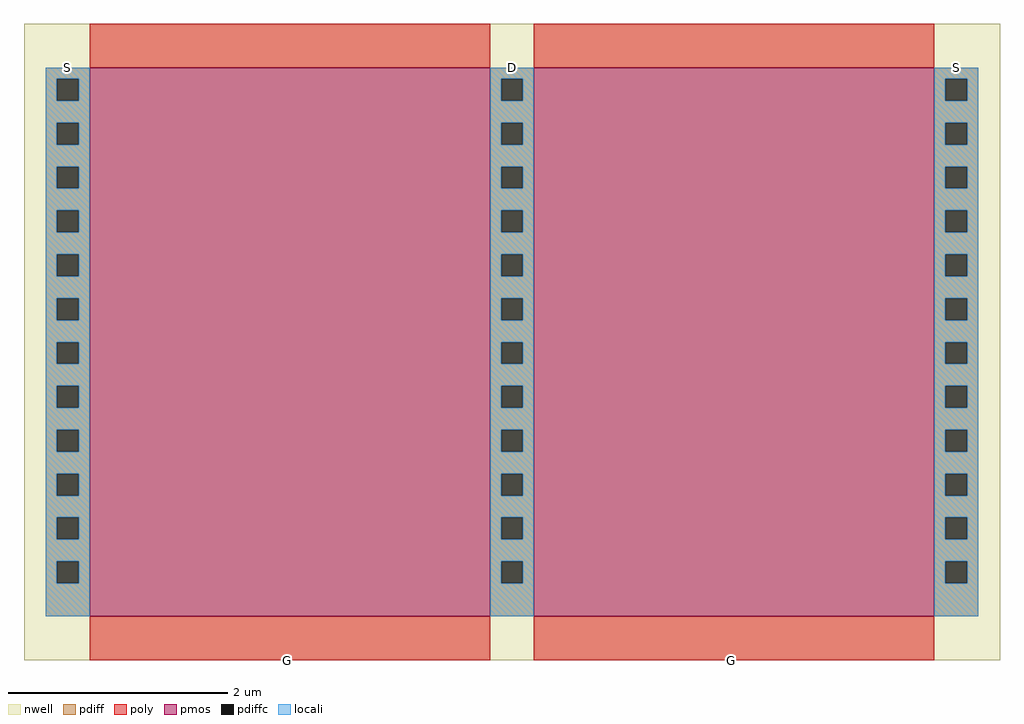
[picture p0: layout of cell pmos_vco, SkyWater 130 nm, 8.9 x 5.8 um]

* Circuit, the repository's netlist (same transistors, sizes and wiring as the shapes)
* NGSPICE file created from pmos_vco.ext - technology: sky130A

.subckt pmos_vco D G S VPWR
X0 S G D VPWR sky130_fd_pr__pfet_01v8 ad=2 pd=10.8 as=1 ps=5.4 w=5 l=3.65 M=2
.ends

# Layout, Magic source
magic
tech sky130A
<< nwell >>
rect -60 -40 830 540
<< pmos >>
rect 0 0 365 500
rect 405 0 770 500
<< pdiff >>
rect -40 490 0 500
rect -40 470 -30 490
rect -10 470 0 490
rect -40 450 0 470
rect -40 430 -30 450
rect -10 430 0 450
rect -40 410 0 430
rect -40 390 -30 410
rect -10 390 0 410
rect -40 370 0 390
rect -40 350 -30 370
rect -10 350 0 370
rect -40 330 0 350
rect -40 310 -30 330
rect -10 310 0 330
rect -40 290 0 310
rect -40 270 -30 290
rect -10 270 0 290
rect -40 250 0 270
rect -40 230 -30 250
rect -10 230 0 250
rect -40 210 0 230
rect -40 190 -30 210
rect -10 190 0 210
rect -40 170 0 190
rect -40 150 -30 170
rect -10 150 0 170
rect -40 130 0 150
rect -40 110 -30 130
rect -10 110 0 130
rect -40 90 0 110
rect -40 70 -30 90
rect -10 70 0 90
rect -40 50 0 70
rect -40 30 -30 50
rect -10 30 0 50
rect -40 0 0 30
rect 365 490 405 500
rect 365 470 375 490
rect 395 470 405 490
rect 365 450 405 470
rect 365 430 375 450
rect 395 430 405 450
rect 365 410 405 430
rect 365 390 375 410
rect 395 390 405 410
rect 365 370 405 390
rect 365 350 375 370
rect 395 350 405 370
rect 365 330 405 350
rect 365 310 375 330
rect 395 310 405 330
rect 365 290 405 310
rect 365 270 375 290
rect 395 270 405 290
rect 365 250 405 270
rect 365 230 375 250
rect 395 230 405 250
rect 365 210 405 230
rect 365 190 375 210
rect 395 190 405 210
rect 365 170 405 190
rect 365 150 375 170
rect 395 150 405 170
rect 365 130 405 150
rect 365 110 375 130
rect 395 110 405 130
rect 365 90 405 110
rect 365 70 375 90
rect 395 70 405 90
rect 365 50 405 70
rect 365 30 375 50
rect 395 30 405 50
rect 365 0 405 30
rect 770 490 810 500
rect 770 470 780 490
rect 800 470 810 490
rect 770 450 810 470
rect 770 430 780 450
rect 800 430 810 450
rect 770 410 810 430
rect 770 390 780 410
rect 800 390 810 410
rect 770 370 810 390
rect 770 350 780 370
rect 800 350 810 370
rect 770 330 810 350
rect 770 310 780 330
rect 800 310 810 330
rect 770 290 810 310
rect 770 270 780 290
rect 800 270 810 290
rect 770 250 810 270
rect 770 230 780 250
rect 800 230 810 250
rect 770 210 810 230
rect 770 190 780 210
rect 800 190 810 210
rect 770 170 810 190
rect 770 150 780 170
rect 800 150 810 170
rect 770 130 810 150
rect 770 110 780 130
rect 800 110 810 130
rect 770 90 810 110
rect 770 70 780 90
rect 800 70 810 90
rect 770 50 810 70
rect 770 30 780 50
rect 800 30 810 50
rect 770 0 810 30
<< pdiffc >>
rect -30 470 -10 490
rect -30 430 -10 450
rect -30 390 -10 410
rect -30 350 -10 370
rect -30 310 -10 330
rect -30 270 -10 290
rect -30 230 -10 250
rect -30 190 -10 210
rect -30 150 -10 170
rect -30 110 -10 130
rect -30 70 -10 90
rect -30 30 -10 50
rect 375 470 395 490
rect 375 430 395 450
rect 375 390 395 410
rect 375 350 395 370
rect 375 310 395 330
rect 375 270 395 290
rect 375 230 395 250
rect 375 190 395 210
rect 375 150 395 170
rect 375 110 395 130
rect 375 70 395 90
rect 375 30 395 50
rect 780 470 800 490
rect 780 430 800 450
rect 780 390 800 410
rect 780 350 800 370
rect 780 310 800 330
rect 780 270 800 290
rect 780 230 800 250
rect 780 190 800 210
rect 780 150 800 170
rect 780 110 800 130
rect 780 70 800 90
rect 780 30 800 50
<< poly >>
rect 0 500 365 540
rect 405 500 770 540
rect 0 -40 365 0
rect 405 -40 770 0
<< locali >>
rect -40 490 0 500
rect -40 470 -30 490
rect -10 470 0 490
rect -40 450 0 470
rect -40 430 -30 450
rect -10 430 0 450
rect -40 410 0 430
rect -40 390 -30 410
rect -10 390 0 410
rect -40 370 0 390
rect -40 350 -30 370
rect -10 350 0 370
rect -40 330 0 350
rect -40 310 -30 330
rect -10 310 0 330
rect -40 290 0 310
rect -40 270 -30 290
rect -10 270 0 290
rect -40 250 0 270
rect -40 230 -30 250
rect -10 230 0 250
rect -40 210 0 230
rect -40 190 -30 210
rect -10 190 0 210
rect -40 170 0 190
rect -40 150 -30 170
rect -10 150 0 170
rect -40 130 0 150
rect -40 110 -30 130
rect -10 110 0 130
rect -40 90 0 110
rect -40 70 -30 90
rect -10 70 0 90
rect -40 50 0 70
rect -40 30 -30 50
rect -10 30 0 50
rect -40 0 0 30
rect 365 490 405 500
rect 365 470 375 490
rect 395 470 405 490
rect 365 450 405 470
rect 365 430 375 450
rect 395 430 405 450
rect 365 410 405 430
rect 365 390 375 410
rect 395 390 405 410
rect 365 370 405 390
rect 365 350 375 370
rect 395 350 405 370
rect 365 330 405 350
rect 365 310 375 330
rect 395 310 405 330
rect 365 290 405 310
rect 365 270 375 290
rect 395 270 405 290
rect 365 250 405 270
rect 365 230 375 250
rect 395 230 405 250
rect 365 210 405 230
rect 365 190 375 210
rect 395 190 405 210
rect 365 170 405 190
rect 365 150 375 170
rect 395 150 405 170
rect 365 130 405 150
rect 365 110 375 130
rect 395 110 405 130
rect 365 90 405 110
rect 365 70 375 90
rect 395 70 405 90
rect 365 50 405 70
rect 365 30 375 50
rect 395 30 405 50
rect 365 0 405 30
rect 770 490 810 500
rect 770 470 780 490
rect 800 470 810 490
rect 770 450 810 470
rect 770 430 780 450
rect 800 430 810 450
rect 770 410 810 430
rect 770 390 780 410
rect 800 390 810 410
rect 770 370 810 390
rect 770 350 780 370
rect 800 350 810 370
rect 770 330 810 350
rect 770 310 780 330
rect 800 310 810 330
rect 770 290 810 310
rect 770 270 780 290
rect 800 270 810 290
rect 770 250 810 270
rect 770 230 780 250
rect 800 230 810 250
rect 770 210 810 230
rect 770 190 780 210
rect 800 190 810 210
rect 770 170 810 190
rect 770 150 780 170
rect 800 150 810 170
rect 770 130 810 150
rect 770 110 780 130
rect 800 110 810 130
rect 770 90 810 110
rect 770 70 780 90
rect 800 70 810 90
rect 770 50 810 70
rect 770 30 780 50
rect 800 30 810 50
rect 770 0 810 30
<< labels >>
rlabel locali -20 500 -20 500 1 S
port 1 n
rlabel locali 385 500 385 500 1 D
port 2 n
rlabel locali 790 500 790 500 1 S
port 3 n
rlabel poly 180 -40 180 -40 5 G
port 4 s
rlabel poly 585 -40 585 -40 5 G
port 5 s
<< end >>
